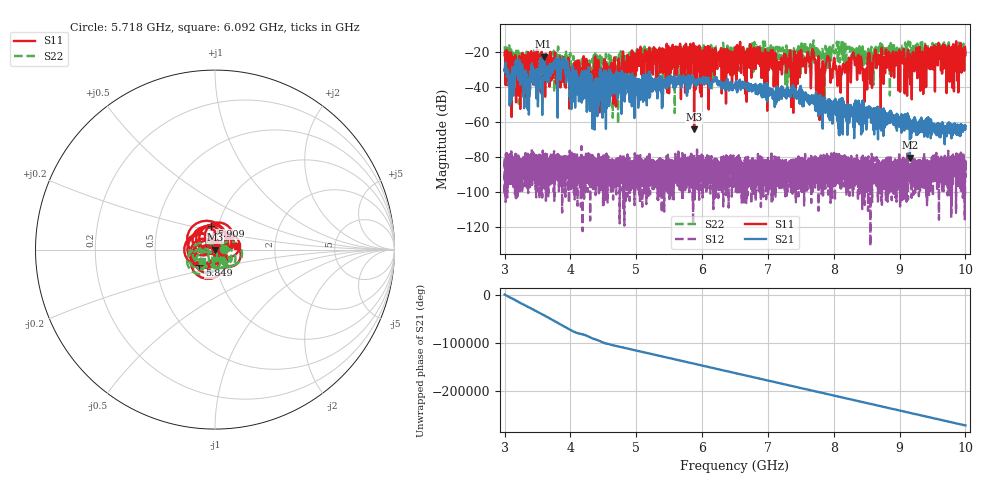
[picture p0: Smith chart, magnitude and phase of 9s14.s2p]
!Agilent Technologies,E8363B,MY43030572,A.06.04.32
!Agilent E8363B: A.06.04.32
!Date: Tuesday, June 07, 2011 09:21:10
!Correction: S11(Full 2 Port(1,2)) S21(Full 2 Port(1,2)) S12(Full 2 Port(1,2)) S22(Full 2 Port(1,2))
!S2P File: Measurements: S11, S21, S12, S22:
# Hz S  dB  R 50
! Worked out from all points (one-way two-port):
!   6401 points, 3 GHz to 10 GHz, reference 50 ohm
!   highest |S21| = -22.62 dB at 3.593 GHz (marker M1); lowest = -80.4 dB at 9.157 GHz (marker M2)
!   lowest |S11| = -64.1 dB at 5.879 GHz (marker M3), VSWR 1.00, Z = 50 - j0.0423 ohm
!   |S11| at or under -10 dB: start of sweep to end of sweep
!   |S22| runs from -61.0 to -13.4 dB; largest |S21 - S12| = 0.074
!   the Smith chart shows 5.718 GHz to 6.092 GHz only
!   S11 on the Smith chart (normalised r, x): 5.718 GHz: 1.08, -0.02; 5.849 GHz: 0.83, -0.15; 5.909 GHz: 0.93, +0.25; 6.092 GHz: 1.28, +0.05
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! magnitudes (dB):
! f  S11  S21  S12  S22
! 3 GHz  -21.8  -30.1  -80.9  -16.7
! 3.36 GHz  -20.1  -49.6  -85.8  -22.2
! 3.593 GHz  -35.2  -22.6  -87.3  -34.0
! 3.891 GHz  -27.1  -26.4  -88.3  -34.3
! 4.167 GHz  -30.5  -32.3  -85.4  -26.3
! 4.468 GHz  -29.5  -40.4  -90.8  -27.2
! 5.334 GHz  -19.6  -36.8  -88.7  -25.8
! 5.718 GHz  -28.4  -33.7  -92.8  -26.1
! 5.849 GHz  -18.1  -34.8  -89.8  -19.2
! 5.879 GHz  -64.1  -35.4  -84.1  -22.6
! 5.909 GHz  -17.5  -36.4  -86.9  -20.8
! 6.092 GHz  -18.0  -35.6  -83.2  -20.3
! 6.5 GHz  -23.2  -39.0  -94.3  -22.2
! 7.667 GHz  -20.9  -45.2  -89.3  -16.9
! 7.818 GHz  -39.2  -50.0  -84.1  -21.9
! 7.908 GHz  -22.3  -49.6  -88.4  -28.5
! 8.083 GHz  -28.6  -48.2  -95.0  -17.7
! 8.305 GHz  -21.4  -55.4  -84.3  -18.5
! 8.475 GHz  -35.9  -60.0  -86.8  -21.5
! 8.834 GHz  -20.5  -56.2  -95.4  -20.1
! 9.157 GHz  -23.8  -80.4  -85.2  -14.9
! 10 GHz  -21.8  -62.1  -81.7  -20.6
